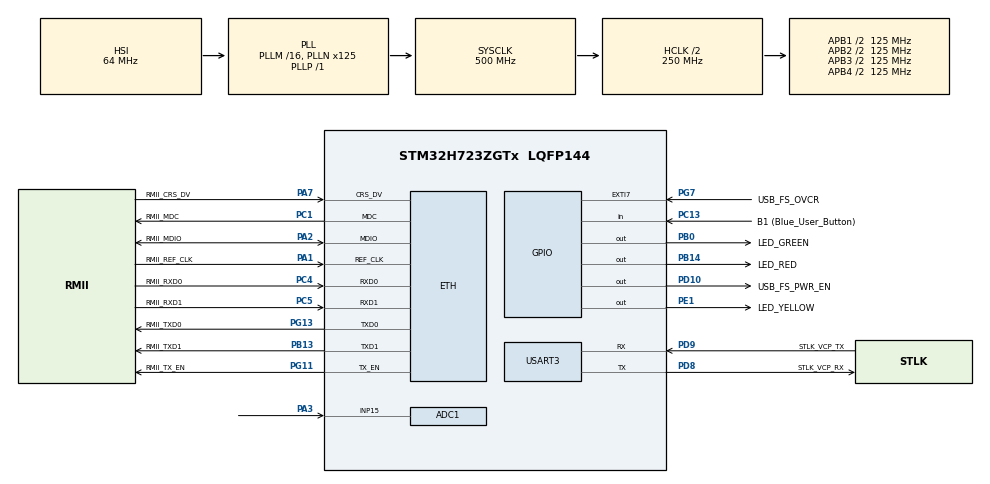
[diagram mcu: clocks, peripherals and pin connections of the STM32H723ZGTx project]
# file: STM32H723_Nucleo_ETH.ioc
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ADC1.Channel-3\#ChannelRegularConversion=ADC_CHANNEL_15
ADC1.NbrOfConversionFlag=1
ADC1.OffsetNumber-3\#ChannelRegularConversion=ADC_OFFSET_NONE
ADC1.OffsetSignedSaturation-3\#ChannelRegularConversion=DISABLE
ADC1.Rank-3\#ChannelRegularConversion=1
ADC1.Resolution=ADC_RESOLUTION_12B
ADC1.SamplingTime-3\#ChannelRegularConversion=ADC_SAMPLETIME_1CYCLE_5
ADC1.master=1
CORTEX_M7.AccessPermission_S-Cortex_Memory_Protection_Unit_Region1_Settings_S=MPU_REGION_FULL_ACCESS
CORTEX_M7.AccessPermission_S-Cortex_Memory_Protection_Unit_Region2_Settings_S=MPU_REGION_FULL_ACCESS
CORTEX_M7.BaseAddress_S-Cortex_Memory_Protection_Unit_Region1_Settings_S=0x30000000
CORTEX_M7.BaseAddress_S-Cortex_Memory_Protection_Unit_Region2_Settings_S=0x30000000
CORTEX_M7.CPU_DCache=Enabled
CORTEX_M7.CPU_ICache=Enabled
CORTEX_M7.DisableExec_S-Cortex_Memory_Protection_Unit_Region1_Settings_S=MPU_INSTRUCTION_ACCESS_DISABLE
CORTEX_M7.DisableExec_S-Cortex_Memory_Protection_Unit_Region2_Settings_S=MPU_INSTRUCTION_ACCESS_DISABLE
CORTEX_M7.Enable_S-Cortex_Memory_Protection_Unit_Region1_Settings_S=MPU_REGION_ENABLE
CORTEX_M7.Enable_S-Cortex_Memory_Protection_Unit_Region2_Settings_S=MPU_REGION_ENABLE
CORTEX_M7.IsBufferable_S-Cortex_Memory_Protection_Unit_Region2_Settings_S=MPU_ACCESS_BUFFERABLE
CORTEX_M7.IsShareable_S-Cortex_Memory_Protection_Unit_Region2_Settings_S=MPU_ACCESS_SHAREABLE
CORTEX_M7.Size_S-Cortex_Memory_Protection_Unit_Region1_Settings_S=MPU_REGION_SIZE_32KB
CORTEX_M7.Size_S-Cortex_Memory_Protection_Unit_Region2_Settings_S=MPU_REGION_SIZE_512B
CORTEX_M7.TypeExtField_S-Cortex_Memory_Protection_Unit_Region1_Settings_S=MPU_TEX_LEVEL1
CORTEX_M7.default_mode_Activation=1
ETH.MediaInterface=HAL_ETH_RMII_MODE
ETH.RxBuffAddress=0x30000200
ETH.RxBuffLen=1536
ETH.TxDescAddress=0x30000100
FREERTOS.Tasks01=defaultTask,24,512,StartDefaultTask,Default,NULL,Dynamic,NULL,NULL
FREERTOS.configCHECK_FOR_STACK_OVERFLOW=1
FREERTOS.configMINIMAL_STACK_SIZE=512
FREERTOS.configTOTAL_HEAP_SIZE=30*1024
FREERTOS.configUSE_NEWLIB_REENTRANT=1
LWIP.BSP.number=1
LWIP.DEFAULT_THREAD_STACKSIZE=2048
LWIP.IP_ADDRESS=192.168.001.010
LWIP.LWIP_DHCP=1
LWIP.LWIP_RAM_HEAP_POINTER=0x30000200
LWIP.MEM_SIZE=32232
LWIP.NETMASK_ADDRESS=255.255.255.000
LWIP.TCPIP_THREAD_STACKSIZE=2048
LWIP.TCP_MSS=1460
LWIP.TCP_SND_BUF=5840
LWIP.TCP_SND_QUEUELEN=16
LWIP.Version=v2.1.2_Cube
LWIP0.BSP.STBoard=false
LWIP0.BSP.api=BSP_COMPONENT_DRIVER
LWIP0.BSP.component=LAN8742
LWIP0.BSP.instance=LAN8742
LWIP0.BSP.name=Driver_PHY
LWIP0.BSP.semaphore=S_LAN8742
LWIP0.BSP.solution=LAN8742
Mcu.Family=STM32H7
Mcu.Name=STM32H723ZGTx
Mcu.Package=LQFP144
NVIC.ETH_IRQn=true\:5\:0\:false\:false\:true\:true\:true\:true\:true
NVIC.PriorityGroup=NVIC_PRIORITYGROUP_4
NVIC.TIM6_DAC_IRQn=true\:15\:0\:false\:false\:true\:false\:false\:true\:true
NVIC.TimeBase=TIM6_DAC_IRQn
NVIC.TimeBaseIP=TIM6
PA1.GPIO_Label=RMII_REF_CLK
PA1.GPIO_Speed=GPIO_SPEED_FREQ_VERY_HIGH
PA1.Mode=RMII
PA1.Signal=ETH_REF_CLK
PA10.GPIO_Label=USB_FS_ID
PA10.Signal=USB_OTG_HS_ID
PA13(JTMS/SWDIO).GPIO_Label=SWDIO
PA13(JTMS/SWDIO).Mode=Serial_Wire
PA13(JTMS/SWDIO).Signal=DEBUG_JTMS-SWDIO
PA14(JTCK/SWCLK).GPIO_Label=SWCLK
PA14(JTCK/SWCLK).Mode=Serial_Wire
PA14(JTCK/SWCLK).Signal=DEBUG_JTCK-SWCLK
PA2.GPIO_Label=RMII_MDIO
PA2.GPIO_Speed=GPIO_SPEED_FREQ_VERY_HIGH
PA2.Mode=RMII
PA2.Signal=ETH_MDIO
PA3.Signal=ADCx_INP15
PA7.GPIO_Label=RMII_CRS_DV
PA7.GPIO_Speed=GPIO_SPEED_FREQ_VERY_HIGH
PA7.Mode=RMII
PA7.Signal=ETH_CRS_DV
PA9.GPIO_Label=USB_FS_VBUS
PA9.Signal=USB_OTG_HS_VBUS
PB0.GPIO_Label=LED_GREEN
PB0.Signal=GPIO_Output
PB13.GPIO_Label=RMII_TXD1
PB13.GPIO_Speed=GPIO_SPEED_FREQ_VERY_HIGH
PB13.Mode=RMII
PB13.Signal=ETH_TXD1
PB14.GPIO_Label=LED_RED
PB14.Signal=GPIO_Output
PB3(JTDO/TRACESWO).GPIO_Label=SWO
PB3(JTDO/TRACESWO).Signal=DEBUG_JTDO-SWO
PC1.GPIO_Label=RMII_MDC
PC1.GPIO_Speed=GPIO_SPEED_FREQ_VERY_HIGH
PC1.Mode=RMII
PC1.Signal=ETH_MDC
PC13.GPIO_Label=B1 (Blue_User_Button)
PC13.Signal=GPIO_Input
PC14-OSC32_IN.Signal=RCC_OSC32_IN
PC15-OSC32_OUT.Signal=RCC_OSC32_OUT
PC4.GPIO_Label=RMII_RXD0
PC4.GPIO_Speed=GPIO_SPEED_FREQ_VERY_HIGH
PC4.Mode=RMII
PC4.Signal=ETH_RXD0
PC5.GPIO_Label=RMII_RXD1
PC5.GPIO_Speed=GPIO_SPEED_FREQ_VERY_HIGH
PC5.Mode=RMII
PC5.Signal=ETH_RXD1
PD10.GPIO_Label=USB_FS_PWR_EN
PD10.Signal=GPIO_Output
PD8.GPIO_Label=STLK_VCP_RX
PD8.Mode=Asynchronous
PD8.Signal=USART3_TX
PD9.GPIO_Label=STLK_VCP_TX
PD9.Mode=Asynchronous
PD9.Signal=USART3_RX
PE1.GPIO_Label=LED_YELLOW
PE1.Signal=GPIO_Output
PG11.GPIO_Label=RMII_TX_EN
PG11.GPIO_Speed=GPIO_SPEED_FREQ_VERY_HIGH
PG11.Mode=RMII
PG11.Signal=ETH_TX_EN
PG13.GPIO_Label=RMII_TXD0
PG13.GPIO_Speed=GPIO_SPEED_FREQ_VERY_HIGH
PG13.Mode=RMII
PG13.Signal=ETH_TXD0
PG7.GPIO_Label=USB_FS_OVCR
PG7.Signal=GPXTI7
PH0-OSC_IN.GPIO_Label=MCO
PH0-OSC_IN.Signal=RCC_OSC_IN
PH1-OSC_OUT.Signal=RCC_OSC_OUT
ProjectManager.HeapSize=0x200
ProjectManager.StackSize=0x400
ProjectManager.TargetToolchain=STM32CubeIDE
RCC.ADCFreq_Value=100000000
RCC.APB1Freq_Value=125000000
RCC.APB2Freq_Value=125000000
RCC.APB3Freq_Value=125000000
RCC.APB4Freq_Value=125000000
RCC.CortexFreq_Value=500000000
RCC.D1PPRE=RCC_APB3_DIV2
RCC.D2PPRE1=RCC_APB1_DIV2
RCC.D2PPRE2=RCC_APB2_DIV2
RCC.D3PPRE=RCC_APB4_DIV2
RCC.DIVM1=16
RCC.DIVM2=8
RCC.DIVN1=125
RCC.DIVN2=25
RCC.DIVP1=1
RCC.DIVQ1=4
RCC.HCLKFreq_Value=250000000
RCC.HPRE=RCC_HCLK_DIV2
RCC.HSE_VALUE=8000000
RCC.PLLFRACN=0
RCC.SYSCLKFreq_VALUE=500000000
RCC.SYSCLKSource=RCC_SYSCLKSOURCE_PLLCLK
RCC.USBCLockSelection=RCC_USBCLKSOURCE_HSI48
RCC.USBFreq_Value=48000000
SH.ADCx_INP15.0=ADC1_INP15,IN15-Single-Ended
USART3.VirtualMode-Asynchronous=VM_ASYNC
VP_FREERTOS_VS_CMSIS_V2.Mode=CMSIS_V2
VP_LWIP_VS_Enabled.Mode=Enabled
VP_SYS_VS_tim6.Mode=TIM6
board=NUCLEO-H723ZG

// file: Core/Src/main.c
/* USER CODE BEGIN Header */
/**
 ******************************************************************************
 * @file           : main.c
 * @brief          : Main program body
 ******************************************************************************
 * @attention
 *
 * Copyright (c) 2022 STMicroelectronics.
 * All rights reserved.
 *
 * This software is licensed under terms that can be found in the LICENSE file
 * in the root directory of this software component.
 * If no LICENSE file comes with this software, it is provided AS-IS.
 *
 ******************************************************************************
 */
/* USER CODE END Header */
#include "main.h"
#include "cmsis_os.h"
#include "lwip.h"

/* USER CODE BEGIN Includes */
/* ETH_CODE: add lwiperf, see comment in StartDefaultTask function */
#include "lwip/apps/lwiperf.h"
#include "string.h"
#include "tcp_client.h"
/* USER CODE END Includes */

ADC_HandleTypeDef hadc1;

UART_HandleTypeDef huart3;

/* Definitions for defaultTask */
osThreadId_t defaultTaskHandle;
const osThreadAttr_t defaultTask_attributes = {
		.name = "defaultTask",
		.stack_size = 512 * 4,
		.priority = (osPriority_t) osPriorityNormal,
};

void SystemClock_Config(void);
static void MPU_Config(void);
static void MX_GPIO_Init(void);
static void MX_USART3_UART_Init(void);
static void MX_ADC1_Init(void);
void StartDefaultTask(void *argument);

/* USER CODE BEGIN 0 */
//void LEDTask(void *argument)
//{
//  for(;;)
//  {
//    HAL_GPIO_TogglePin(LED_RED_GPIO_Port, LED_RED_Pin);
//    osDelay(100);  // �?�?�? osDelay �?ท�? HAL_Delay
//  }
//}
void send_ip_via_usart(void) {
	struct netif *netif = netif_default;

	// Check if the network interface is up
	if (netif_is_up(netif)) {
		// Get the IP address and convert to string
		const char *ip_str = ip4addr_ntoa(netif_ip4_addr(netif));
		HAL_UART_Transmit(&huart3, (uint8_t*)"ip : ", 5, HAL_MAX_DELAY);

		// Send IP address via USART3
		HAL_UART_Transmit(&huart3, (uint8_t*)ip_str, strlen(ip_str), HAL_MAX_DELAY);

		// Optionally send a newline character for better readability
		char newline[] = "\r\n";
		HAL_UART_Transmit(&huart3, (uint8_t*)newline, strlen(newline), HAL_MAX_DELAY);
	} else {
		// If the interface is down, send an error message
		char error_msg[] = "Network interface is down\r\n";
		HAL_UART_Transmit(&huart3, (uint8_t*)error_msg, strlen(error_msg), HAL_MAX_DELAY);
	}
}
/* USER CODE END 0 */

int main(void)
{

	/* MPU Configuration--------------------------------------------------------*/
	MPU_Config();

	/* Enable I-Cache---------------------------------------------------------*/
	SCB_EnableICache();

	/* Enable D-Cache---------------------------------------------------------*/
	SCB_EnableDCache();

	/* MCU Configuration--------------------------------------------------------*/

	/* Reset of all peripherals, Initializes the Flash interface and the Systick. */
	HAL_Init();

	/* Configure the system clock */
	SystemClock_Config();

	/* Initialize all configured peripherals */
	MX_GPIO_Init();
	MX_USART3_UART_Init();
	MX_ADC1_Init();

	/* Init scheduler */
	osKernelInitialize();

	/* USER CODE BEGIN RTOS_TIMERS */
	/* start timers, add new ones, ... */

	//  osThreadNew(LEDTask, NULL, &LEDTask_attributes);  // �?�?�? osThreadNew �?ท�? osThreadDef

	/* USER CODE END RTOS_TIMERS */

	/* Create the thread(s) */
	/* creation of defaultTask */
	defaultTaskHandle = osThreadNew(StartDefaultTask, NULL, &defaultTask_attributes);

	/* Start scheduler */
	osKernelStart();

	/* We should never get here as control is now taken by the scheduler */
	/* Infinite loop */
	while (1)
	{

	}
}

void SystemClock_Config(void)
{
	RCC_OscInitTypeDef RCC_OscInitStruct = {0};
	RCC_ClkInitTypeDef RCC_ClkInitStruct = {0};

	/** Supply configuration update enable
	 */
	HAL_PWREx_ConfigSupply(PWR_LDO_SUPPLY);

	/** Configure the main internal regulator output voltage
	 */
	__HAL_PWR_VOLTAGESCALING_CONFIG(PWR_REGULATOR_VOLTAGE_SCALE0);

	while(!__HAL_PWR_GET_FLAG(PWR_FLAG_VOSRDY)) {}

	/** Macro to configure the PLL clock source
	 */
	__HAL_RCC_PLL_PLLSOURCE_CONFIG(RCC_PLLSOURCE_HSI);

	/** Initializes the RCC Oscillators according to the specified parameters
	 * in the RCC_OscInitTypeDef structure.
	 */
	RCC_OscInitStruct.OscillatorType = RCC_OSCILLATORTYPE_HSI;
	RCC_OscInitStruct.HSIState = RCC_HSI_DIV1;
	RCC_OscInitStruct.HSICalibrationValue = RCC_HSICALIBRATION_DEFAULT;
	RCC_OscInitStruct.PLL.PLLState = RCC_PLL_ON;
	RCC_OscInitStruct.PLL.PLLSource = RCC_PLLSOURCE_HSI;
	RCC_OscInitStruct.PLL.PLLM = 16;
	RCC_OscInitStruct.PLL.PLLN = 125;
	RCC_OscInitStruct.PLL.PLLP = 1;
	RCC_OscInitStruct.PLL.PLLQ = 4;
	RCC_OscInitStruct.PLL.PLLR = 2;
	RCC_OscInitStruct.PLL.PLLRGE = RCC_PLL1VCIRANGE_2;
	RCC_OscInitStruct.PLL.PLLVCOSEL = RCC_PLL1VCOWIDE;
	RCC_OscInitStruct.PLL.PLLFRACN = 0;
	if (HAL_RCC_OscConfig(&RCC_OscInitStruct) != HAL_OK)
	{
		Error_Handler();
	}

	/** Initializes the CPU, AHB and APB buses clocks
	 */
	RCC_ClkInitStruct.ClockType = RCC_CLOCKTYPE_HCLK|RCC_CLOCKTYPE_SYSCLK
			|RCC_CLOCKTYPE_PCLK1|RCC_CLOCKTYPE_PCLK2
			|RCC_CLOCKTYPE_D3PCLK1|RCC_CLOCKTYPE_D1PCLK1;
	RCC_ClkInitStruct.SYSCLKSource = RCC_SYSCLKSOURCE_PLLCLK;
	RCC_ClkInitStruct.SYSCLKDivider = RCC_SYSCLK_DIV1;
	RCC_ClkInitStruct.AHBCLKDivider = RCC_HCLK_DIV2;
	RCC_ClkInitStruct.APB3CLKDivider = RCC_APB3_DIV2;
	RCC_ClkInitStruct.APB1CLKDivider = RCC_APB1_DIV2;
	RCC_ClkInitStruct.APB2CLKDivider = RCC_APB2_DIV2;
	RCC_ClkInitStruct.APB4CLKDivider = RCC_APB4_DIV2;

	if (HAL_RCC_ClockConfig(&RCC_ClkInitStruct, FLASH_LATENCY_3) != HAL_OK)
	{
		Error_Handler();
	}
}

static void MX_ADC1_Init(void)
{

	ADC_MultiModeTypeDef multimode = {0};
	ADC_ChannelConfTypeDef sConfig = {0};

	/** Common config
	 */
	hadc1.Instance = ADC1;
	hadc1.Init.ClockPrescaler = ADC_CLOCK_ASYNC_DIV1;
	hadc1.Init.Resolution = ADC_RESOLUTION_12B;
	hadc1.Init.ScanConvMode = ADC_SCAN_DISABLE;
	hadc1.Init.EOCSelection = ADC_EOC_SINGLE_CONV;
	hadc1.Init.LowPowerAutoWait = DISABLE;
	hadc1.Init.ContinuousConvMode = DISABLE;
	hadc1.Init.NbrOfConversion = 1;
	hadc1.Init.DiscontinuousConvMode = DISABLE;
	hadc1.Init.ExternalTrigConv = ADC_SOFTWARE_START;
	hadc1.Init.ExternalTrigConvEdge = ADC_EXTERNALTRIGCONVEDGE_NONE;
	hadc1.Init.ConversionDataManagement = ADC_CONVERSIONDATA_DR;
	hadc1.Init.Overrun = ADC_OVR_DATA_PRESERVED;
	hadc1.Init.LeftBitShift = ADC_LEFTBITSHIFT_NONE;
	hadc1.Init.OversamplingMode = DISABLE;
	if (HAL_ADC_Init(&hadc1) != HAL_OK)
	{
		Error_Handler();
	}

	/** Configure the ADC multi-mode
	 */
	multimode.Mode = ADC_MODE_INDEPENDENT;
	if (HAL_ADCEx_MultiModeConfigChannel(&hadc1, &multimode) != HAL_OK)
	{
		Error_Handler();
	}

	/** Configure Regular Channel
	 */
	sConfig.Channel = ADC_CHANNEL_15;
	sConfig.Rank = ADC_REGULAR_RANK_1;
	sConfig.SamplingTime = ADC_SAMPLETIME_1CYCLE_5;
	sConfig.SingleDiff = ADC_SINGLE_ENDED;
	sConfig.OffsetNumber = ADC_OFFSET_NONE;
	sConfig.Offset = 0;
	sConfig.OffsetSignedSaturation = DISABLE;
	if (HAL_ADC_ConfigChannel(&hadc1, &sConfig) != HAL_OK)
	{
		Error_Handler();
	}

}

static void MX_USART3_UART_Init(void)
{

	huart3.Instance = USART3;
	huart3.Init.BaudRate = 115200;
	huart3.Init.WordLength = UART_WORDLENGTH_8B;
	huart3.Init.StopBits = UART_STOPBITS_1;
	huart3.Init.Parity = UART_PARITY_NONE;
	huart3.Init.Mode = UART_MODE_TX_RX;
	huart3.Init.HwFlowCtl = UART_HWCONTROL_NONE;
	huart3.Init.OverSampling = UART_OVERSAMPLING_16;
	huart3.Init.OneBitSampling = UART_ONE_BIT_SAMPLE_DISABLE;
	huart3.Init.ClockPrescaler = UART_PRESCALER_DIV1;
	huart3.AdvancedInit.AdvFeatureInit = UART_ADVFEATURE_NO_INIT;
	if (HAL_UART_Init(&huart3) != HAL_OK)
	{
		Error_Handler();
	}
	if (HAL_UARTEx_SetTxFifoThreshold(&huart3, UART_TXFIFO_THRESHOLD_1_8) != HAL_OK)
	{
		Error_Handler();
	}
	if (HAL_UARTEx_SetRxFifoThreshold(&huart3, UART_RXFIFO_THRESHOLD_1_8) != HAL_OK)
	{
		Error_Handler();
	}
	if (HAL_UARTEx_DisableFifoMode(&huart3) != HAL_OK)
	{
		Error_Handler();
	}

}

static void MX_GPIO_Init(void)
{
	GPIO_InitTypeDef GPIO_InitStruct = {0};

	/* GPIO Ports Clock Enable */
	__HAL_RCC_GPIOC_CLK_ENABLE();
	__HAL_RCC_GPIOH_CLK_ENABLE();
	__HAL_RCC_GPIOA_CLK_ENABLE();
	__HAL_RCC_GPIOB_CLK_ENABLE();
	__HAL_RCC_GPIOD_CLK_ENABLE();
	__HAL_RCC_GPIOG_CLK_ENABLE();
	__HAL_RCC_GPIOE_CLK_ENABLE();

	/*Configure GPIO pin Output Level */
	HAL_GPIO_WritePin(GPIOB, LED_GREEN_Pin|LED_RED_Pin, GPIO_PIN_RESET);

	/*Configure GPIO pin Output Level */
	HAL_GPIO_WritePin(USB_FS_PWR_EN_GPIO_Port, USB_FS_PWR_EN_Pin, GPIO_PIN_RESET);

	/*Configure GPIO pin Output Level */
	HAL_GPIO_WritePin(LED_YELLOW_GPIO_Port, LED_YELLOW_Pin, GPIO_PIN_RESET);

	/*Configure GPIO pin : B1_Pin */
	GPIO_InitStruct.Pin = B1_Pin;
	GPIO_InitStruct.Mode = GPIO_MODE_INPUT;
	GPIO_InitStruct.Pull = GPIO_NOPULL;
	HAL_GPIO_Init(B1_GPIO_Port, &GPIO_InitStruct);

	/*Configure GPIO pins : LED_GREEN_Pin LED_RED_Pin */
	GPIO_InitStruct.Pin = LED_GREEN_Pin|LED_RED_Pin;
	GPIO_InitStruct.Mode = GPIO_MODE_OUTPUT_PP;
	GPIO_InitStruct.Pull = GPIO_NOPULL;
	GPIO_InitStruct.Speed = GPIO_SPEED_FREQ_LOW;
	HAL_GPIO_Init(GPIOB, &GPIO_InitStruct);

	/*Configure GPIO pin : USB_FS_PWR_EN_Pin */
	GPIO_InitStruct.Pin = USB_FS_PWR_EN_Pin;
	GPIO_InitStruct.Mode = GPIO_MODE_OUTPUT_PP;
	GPIO_InitStruct.Pull = GPIO_NOPULL;
	GPIO_InitStruct.Speed = GPIO_SPEED_FREQ_LOW;
	HAL_GPIO_Init(USB_FS_PWR_EN_GPIO_Port, &GPIO_InitStruct);

	/*Configure GPIO pin : USB_FS_OVCR_Pin */
	GPIO_InitStruct.Pin = USB_FS_OVCR_Pin;
	GPIO_InitStruct.Mode = GPIO_MODE_IT_RISING;
	GPIO_InitStruct.Pull = GPIO_NOPULL;
	HAL_GPIO_Init(USB_FS_OVCR_GPIO_Port, &GPIO_InitStruct);

	/*Configure GPIO pin : USB_FS_ID_Pin */
	GPIO_InitStruct.Pin = USB_FS_ID_Pin;
	GPIO_InitStruct.Mode = GPIO_MODE_AF_PP;
	GPIO_InitStruct.Pull = GPIO_NOPULL;
	GPIO_InitStruct.Speed = GPIO_SPEED_FREQ_LOW;
	GPIO_InitStruct.Alternate = GPIO_AF10_OTG1_HS;
	HAL_GPIO_Init(USB_FS_ID_GPIO_Port, &GPIO_InitStruct);

	/*Configure GPIO pin : LED_YELLOW_Pin */
	GPIO_InitStruct.Pin = LED_YELLOW_Pin;
	GPIO_InitStruct.Mode = GPIO_MODE_OUTPUT_PP;
	GPIO_InitStruct.Pull = GPIO_NOPULL;
	GPIO_InitStruct.Speed = GPIO_SPEED_FREQ_LOW;
	HAL_GPIO_Init(LED_YELLOW_GPIO_Port, &GPIO_InitStruct);

}

/* USER CODE BEGIN 4 */

// ฟังก์ชันส่งข้อมูลไปยัง USART3

/* USER CODE END 4 */

void StartDefaultTask(void *argument)
{
	/* init code for LWIP */
	MX_LWIP_Init();
	/* USER CODE BEGIN 5 */
	/* ETH_CODE: Adding lwiperf to measure TCP/IP performance.
	 * iperf 2.0.6 (or older?) is required for the tests. Newer iperf2 versions
	 * might work without data check, but they send different headers.
	 * iperf3 is not compatible at all.
	 * Adding lwiperf.c file to the project is necessary.
	 * The default include path should already contain
	 * 'lwip/apps/lwiperf.h'
	 */
	LOCK_TCPIP_CORE();
	//uint32_t last_connect_time = 0;   // เวลาที่ connect_to_server ถูกเรียกครั้งสุดท้าย
	//uint32_t last_adc_read_time = 0;  // เวลาที่ read_adc_and_send_data ถูกเรียกครั้งสุดท้าย
	//uint32_t last_user_input =0;

	UNLOCK_TCPIP_CORE();
	/* Infinite loop */
	for(;;)
	{

		// HAL_UART_Transmit(&huart3, (uint8_t*)&adc_value, sizeof(adc_value), HAL_MAX_DELAY);
		//send_ip_via_usart();
		 //uint32_t current_time = HAL_GetTick();  // อ่านเวลาปัจจุบัน
		connect_to_server();
		//osDelay(2000);
		//user_input();
		//read_adc_and_send_data();
		//เรียกใช้ connect_to_server ทุก 10 วินาที
		//if (current_time - last_connect_time >= 10000) {  // 10,000 ms = 10 วินาที
		//            connect_to_server();
		//  last_connect_time = current_time;  // อัปเดตเวลาที่เรียกครั้งล่าสุด
		//}
		// เรียกใช้ read_adc_and_send_data ทุก 2 วินาที
		// if (current_time - last_adc_read_time >= 2000) {  // 2,000 ms = 2 วินาที
		// read_adc_and_send_data();
		// last_adc_read_time = current_time;  // อัปเดตเวลาที่เรียกครั้งล่าสุด
		//}

			 //user_input();

	}
	/* USER CODE END 5 */
}

/* MPU Configuration */

void MPU_Config(void)
{
	MPU_Region_InitTypeDef MPU_InitStruct = {0};

	/* Disables the MPU */
	HAL_MPU_Disable();

	/** Initializes and configures the Region and the memory to be protected
	 */
	MPU_InitStruct.Enable = MPU_REGION_ENABLE;
	MPU_InitStruct.Number = MPU_REGION_NUMBER0;
	MPU_InitStruct.BaseAddress = 0x0;
	MPU_InitStruct.Size = MPU_REGION_SIZE_4GB;
	MPU_InitStruct.SubRegionDisable = 0x87;
	MPU_InitStruct.TypeExtField = MPU_TEX_LEVEL0;
	MPU_InitStruct.AccessPermission = MPU_REGION_NO_ACCESS;
	MPU_InitStruct.DisableExec = MPU_INSTRUCTION_ACCESS_DISABLE;
	MPU_InitStruct.IsShareable = MPU_ACCESS_SHAREABLE;
	MPU_InitStruct.IsCacheable = MPU_ACCESS_NOT_CACHEABLE;
	MPU_InitStruct.IsBufferable = MPU_ACCESS_NOT_BUFFERABLE;

	HAL_MPU_ConfigRegion(&MPU_InitStruct);

	/** Initializes and configures the Region and the memory to be protected
	 */
	MPU_InitStruct.Number = MPU_REGION_NUMBER1;
	MPU_InitStruct.BaseAddress = 0x30000000;
	MPU_InitStruct.Size = MPU_REGION_SIZE_32KB;
	MPU_InitStruct.SubRegionDisable = 0x0;
	MPU_InitStruct.TypeExtField = MPU_TEX_LEVEL1;
	MPU_InitStruct.AccessPermission = MPU_REGION_FULL_ACCESS;
	MPU_InitStruct.IsShareable = MPU_ACCESS_NOT_SHAREABLE;

	HAL_MPU_ConfigRegion(&MPU_InitStruct);

	/** Initializes and configures the Region and the memory to be protected
	 */
	MPU_InitStruct.Number = MPU_REGION_NUMBER2;
	MPU_InitStruct.Size = MPU_REGION_SIZE_512B;
	MPU_InitStruct.TypeExtField = MPU_TEX_LEVEL0;
	MPU_InitStruct.IsShareable = MPU_ACCESS_SHAREABLE;
	MPU_InitStruct.IsBufferable = MPU_ACCESS_BUFFERABLE;

	HAL_MPU_ConfigRegion(&MPU_InitStruct);
	/* Enables the MPU */
	HAL_MPU_Enable(MPU_PRIVILEGED_DEFAULT);

}

void HAL_TIM_PeriodElapsedCallback(TIM_HandleTypeDef *htim)
{
	if (htim->Instance == TIM6) {
		HAL_IncTick();
	}
}

void Error_Handler(void)
{
	__disable_irq();
	while (1)
	{
	}
}
